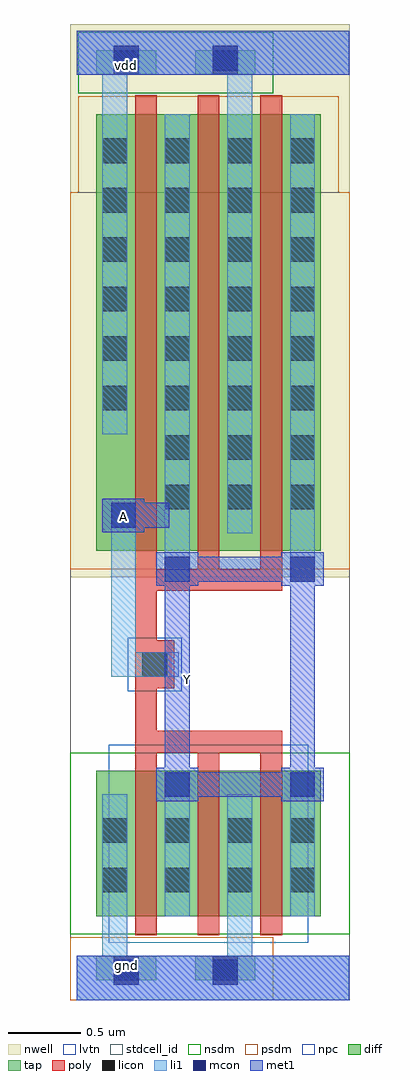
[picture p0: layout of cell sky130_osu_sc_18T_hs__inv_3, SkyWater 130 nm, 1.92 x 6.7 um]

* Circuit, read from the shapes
.subckt sky130_osu_sc_18T_hs__inv_3 A Y gnd vdd
XM1 Y A gnd gnd sky130_fd_pr__nfet_01v8_lvt w=1 l=0.15 m=3
XM2 Y A vdd vdd sky130_fd_pr__pfet_01v8 w=3 l=0.15 m=3
.ends

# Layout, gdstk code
import gdstk
lib = gdstk.Library(unit=1e-6, precision=1e-09)
def R(c, l, rs):  # rectangles x0, y0, x1, y1
    for r in rs: c.add(gdstk.rectangle(r[:2], r[2:], *l))
def A(c, l, x, y, w, h, nx, ny, dx, dy):  # array of equal rectangles
    R(c, l, [(x+i*dx, y+j*dy, x+i*dx+w, y+j*dy+h) for i in range(nx) for j in range(ny)])
nwell = (64, 20)
diff = (65, 20)
tap = (65, 44)
poly = (66, 20)
licon = (66, 44)
li1 = (67, 20)
mcon = (67, 44)
met1 = (68, 20)
stdcell_id = (81, 4)
nsdm = (93, 44)
psdm = (94, 20)
npc = (95, 20)
lvtn = (125, 44)

sky130_osu_sc_18t_hs__in = lib.new_cell('sky130_osu_sc_18T_hs__inv_3')
R(sky130_osu_sc_18t_hs__in, nwell, [(-0.045,2.905,1.875,6.705)])
R(sky130_osu_sc_18t_hs__in, diff, [(0.135,0.575,1.675,1.575), (0.135,3.085,1.675,6.085)])
R(sky130_osu_sc_18t_hs__in, tap, [(0.135,0.135,0.545,0.305), (0.815,0.135,1.225,0.305), (0.135,6.355,0.545,6.525), (0.815,6.355,1.225,6.525)])
A(sky130_osu_sc_18t_hs__in, poly, 0.4, 0.445, 0.15, 1.255, 3, 1, 0.43, 0)
A(sky130_osu_sc_18t_hs__in, poly, 0.4, 2.96, 0.15, 3.255, 3, 1, 0.43, 0)
R(sky130_osu_sc_18t_hs__in, poly, [(0.4,1.7,1.41,1.85), (0.4,1.85,0.55,2.14), (0.4,2.14,0.67,2.47), (0.4,2.47,0.55,2.81), (0.4,2.81,1.41,2.96)])
A(sky130_osu_sc_18t_hs__in, licon, 0.175, 0.74, 0.17, 0.17, 4, 2, 0.43, 0.34)
A(sky130_osu_sc_18t_hs__in, licon, 0.605, 3.37, 0.17, 0.17, 3, 2, 0.43, 0.34)
A(sky130_osu_sc_18t_hs__in, licon, 0.175, 4.05, 0.17, 0.17, 4, 6, 0.43, 0.34)
R(sky130_osu_sc_18t_hs__in, licon, [(0.255,0.135,0.425,0.305), (0.935,0.135,1.105,0.305), (0.45,2.22,0.62,2.39), (0.255,6.355,0.425,6.525), (0.935,6.355,1.105,6.525)])
R(sky130_osu_sc_18t_hs__in, li1, [(0,0,1.87,0.305), (0.175,0.305,0.345,1.415), (1.035,0.305,1.205,1.415), (0.605,0.575,0.775,1.565), (1.465,0.575,1.635,1.565), (0.235,2.22,0.7,2.39), (0.235,2.39,0.405,3.415), (0.605,2.875,0.775,6.085), (1.465,2.875,1.635,6.085), (1.035,3.205,1.205,6.355), (0.175,3.885,0.345,6.355), (0,6.355,1.87,6.66)])
R(sky130_osu_sc_18t_hs__in, mcon, [(0.255,0.105,0.425,0.275), (0.935,0.105,1.105,0.275), (0.605,1.395,0.775,1.565), (1.465,1.395,1.635,1.565), (0.605,2.875,0.775,3.045), (1.465,2.875,1.635,3.045), (0.235,3.245,0.405,3.415), (0.255,6.385,0.425,6.555), (0.935,6.385,1.105,6.555)])
R(sky130_osu_sc_18t_hs__in, met1, [(0,0,1.87,0.305), (0.545,1.365,0.835,1.395), (1.405,1.365,1.695,1.395), (0.545,1.395,1.695,1.565), (0.545,1.565,0.835,1.595), (1.405,1.565,1.695,1.595), (0.605,1.595,0.775,2.845), (1.465,1.595,1.635,2.845), (0.545,2.845,0.835,2.875), (1.405,2.845,1.695,2.875), (0.545,2.875,1.695,3.045), (0.545,3.045,0.835,3.075), (1.405,3.045,1.695,3.075), (0.175,3.215,0.465,3.245), (0.175,3.245,0.635,3.415), (0.175,3.415,0.465,3.445), (0,6.355,1.87,6.66)])
R(sky130_osu_sc_18t_hs__in, stdcell_id, [(-0.045,0,1.875,5.55)])
R(sky130_osu_sc_18t_hs__in, nsdm, [(-0.045,0.45,1.875,1.7), (0.01,6.23,1.35,6.65)])
R(sky130_osu_sc_18t_hs__in, psdm, [(-0.045,0,1.35,0.43), (-0.045,2.96,1.875,5.55), (0.01,5.55,1.8,6.21)])
R(sky130_osu_sc_18t_hs__in, npc, [(0.35,2.12,0.72,2.49)])
R(sky130_osu_sc_18t_hs__in, lvtn, [(0.22,0.395,1.59,1.755)])
sky130_osu_sc_18t_hs__in.add(gdstk.Label('gnd', (0.34,0.24), layer=68, texttype=16))
sky130_osu_sc_18t_hs__in.add(gdstk.Label('vdd', (0.34,6.42), layer=68, texttype=16))
sky130_osu_sc_18t_hs__in.add(gdstk.Label('Y', (0.76,2.2), layer=68, texttype=5))
sky130_osu_sc_18t_hs__in.add(gdstk.Label('A', (0.32,3.325), layer=68, texttype=5))

lib.write_gds('sky130_osu_sc_18T_hs__inv_3.gds')
